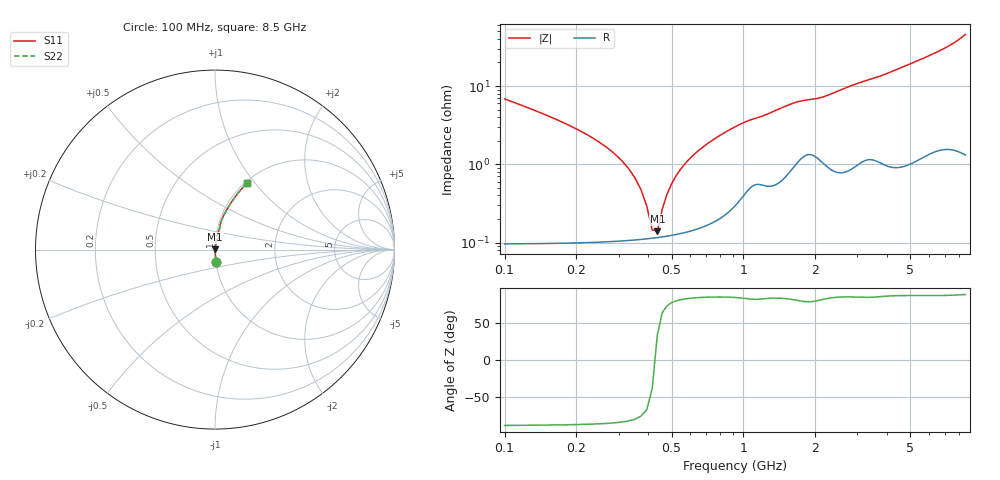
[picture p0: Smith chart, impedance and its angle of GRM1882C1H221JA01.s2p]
!Murata Part Number: GRM1882C1H221JA01
!These Parameters are Measured in Series Mode Connection
!Data Generated on Mar 30, 2021
!  o--ll--o
!Port1  Port2
!  o------o
!Operation Temp=25[degC], DC Bias Voltage=0[V]
!Freq. Start=100[MHz] Stop=9[GHz] 401[Steps]
# Hz S RI R 50
!Freq.(Hz) S11(Real) S11(Imag) S21(Real) S21(Imag) S12(Real) S12(Imag) S22(Real) S22(Imag)
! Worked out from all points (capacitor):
!   401 points, 100 MHz to 8.5 GHz, reference 50 ohm
!   read as one part in series: C = 220 pF near 142 MHz
!   lowest |Z| = 139 mohm at 436 MHz (marker M1)
!   series resonance near 426.4 MHz, so ESL is about 630 pH
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1e8  0.0056 -0.0679  0.9944 0.0679  0.9944 0.0679  0.0056 -0.0679
1.42e8  0.00302 -0.0451  0.997 0.0451  0.997 0.0451  0.00302 -0.0451
2.89e8  0.00122 -0.0135  0.9988 0.0135  0.9988 0.0135  0.00122 -0.0135
3.31e8  0.00114 -0.00869  0.9989 0.00869  0.9989 0.00869  0.00114 -0.00869
3.52e8  0.00112 -0.00655  0.9989 0.00655  0.9989 0.00655  0.00112 -0.00655
3.94e8  0.00112 -0.00269  0.9989 0.00269  0.9989 0.00269  0.00112 -0.00269
4.15e8  0.00114 -0.000914  0.9989 0.000914  0.9989 0.000914  0.00114 -0.000914
4.36e8  0.00116 0.000769  0.9988 -0.000769  0.9988 -0.000769  0.00116 0.000769
4.57e8  0.00119 0.00238  0.9988 -0.00238  0.9988 -0.00238  0.00119 0.00238
4.99e8  0.00126 0.00541  0.9987 -0.00541  0.9987 -0.00541  0.00126 0.00541
5.2e8  0.00131 0.00684  0.9987 -0.00684  0.9987 -0.00684  0.00131 0.00684
5.62e8  0.00142 0.00959  0.9986 -0.00959  0.9986 -0.00959  0.00142 0.00959
6.25e8  0.00164 0.0135  0.9984 -0.0135  0.9984 -0.0135  0.00164 0.0135
7.3e8  0.00213 0.0195  0.9979 -0.0195  0.9979 -0.0195  0.00213 0.0195
8.56e8  0.00307 0.0263  0.9969 -0.0263  0.9969 -0.0263  0.00307 0.0263
1.003e9  0.00512 0.0336  0.9949 -0.0336  0.9949 -0.0336  0.00512 0.0336
1.507e9  0.00994 0.0542  0.9901 -0.0542  0.9901 -0.0542  0.00994 0.0542
2.914e9  0.0195 0.1011  0.9805 -0.1011  0.9805 -0.1011  0.0195 0.1011
4.3e9  0.0327 0.1516  0.9673 -0.1516  0.9673 -0.1516  0.0327 0.1516
5.707e9  0.0599 0.2116  0.9401 -0.2116  0.9401 -0.2116  0.0599 0.2116
7.114e9  0.1016 0.2785  0.8984 -0.2785  0.8984 -0.2785  0.1016 0.2785
8.5e9  0.1784 0.3687  0.8216 -0.3687  0.8216 -0.3687  0.1784 0.3687
